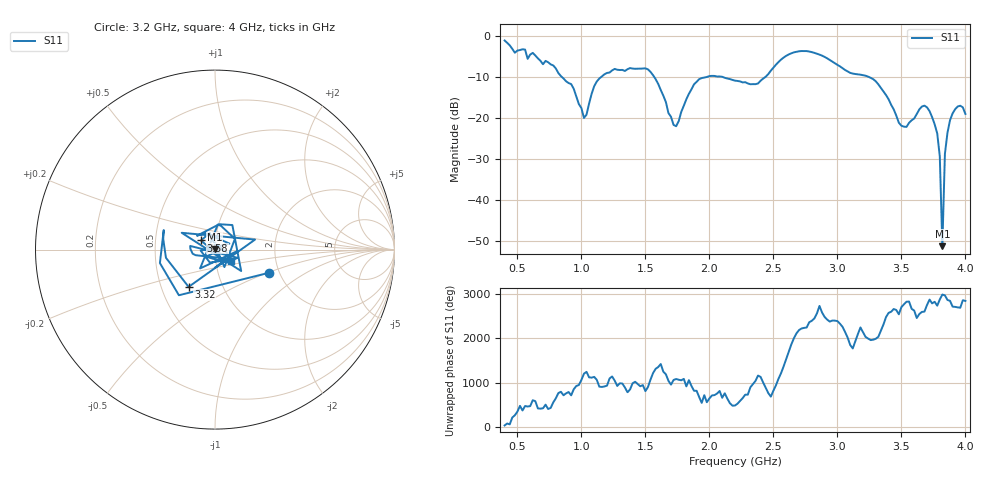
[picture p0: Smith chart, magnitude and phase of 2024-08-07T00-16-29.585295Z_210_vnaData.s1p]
!Created with skrf (http://scikit-rf.org).
# Hz S RI R 50.0
!freq ReS11 ImS11
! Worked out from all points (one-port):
!   181 points, 400 MHz to 4 GHz, reference 50 ohm
!   lowest |S11| = -51.3 dB at 3.82 GHz (marker M1), VSWR 1.01, Z = 49.9 + j0.257 ohm
!   |S11| at or under -10 dB: 1.567 GHz to 1.988 GHz (421 MHz wide, 23.7 % of centre); 2.089 GHz to 2.441 GHz (351.6 MHz wide, 15.5 % of centre); 3.239 GHz to end of sweep (the widest 3 of 4)
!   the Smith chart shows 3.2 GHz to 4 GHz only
!   S11 on the Smith chart (normalised r, x): 3.2 GHz: 1.77, -0.51; 3.32 GHz: 0.69, -0.31; 3.58 GHz: 0.85, +0.09; 4 GHz: 1.19, -0.15
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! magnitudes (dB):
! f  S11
! 400 MHz  -1.2
! 860 MHz  -10.4
! 940 MHz  -13.0
! 1.02 GHz  -20.1
! 1.12 GHz  -11.2
! 1.3 GHz  -8.4
! 1.52 GHz  -8.2
! 1.6 GHz  -11.8
! 1.72 GHz  -21.8
! 1.76 GHz  -20.9
! 1.92 GHz  -10.6
! 2.2 GHz  -11.0
! 2.38 GHz  -11.7
! 2.66 GHz  -4.1
! 3.1 GHz  -9.1
! 3.2 GHz  -9.7
! 3.32 GHz  -11.9
! 3.48 GHz  -21.2
! 3.56 GHz  -21.2
! 3.58 GHz  -20.6
! 3.68 GHz  -17.1
! 3.78 GHz  -23.8
! 3.8 GHz  -29.4
! 3.82 GHz  -51.3
! 3.84 GHz  -28.8
! 3.86 GHz  -23.7
! 3.94 GHz  -17.3
! 4 GHz  -19.1
